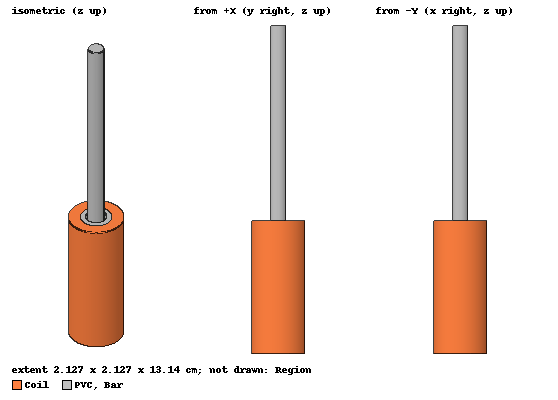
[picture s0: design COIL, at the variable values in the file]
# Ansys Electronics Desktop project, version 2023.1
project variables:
  $r_wire = 0.00025meter
  $r_coil_ext = 0.010635meter
  $r_coil_int = 0.006035meter
  $N = 750
  $copper_lenght = 41.33meter
  $h_coil = 0.05312meter
  $coil_current = 3.5A
  $coil_voltage = 13V
  $r_pvc = 0.00404meter
  $l_bar = 0.096meter
  $r_bar = 0.003045
  $coil_resistance = 3.65ohm
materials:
  vacuum: permittivity=1
  copper: permeability=0.999991 conductivity=58000000
  PVC plastic: permittivity=2.7 dielectric_loss_tangent=0.007
  air: permittivity=1.0006 permeability=1.0000004
  steel_stainless: conductivity=1100000
  Cast iron, EN GJL 100: permeability{HUnit=A_per_meter BUnit=tesla curve (0, 0) (587.829, 0.1) (950.686, 0.2) (1313.54, 0.3) (1785.78, 0.4) (2539.27, 0.5) (3405.34, 0.6) (4758.27, 0.7) (6546.86, 0.8) (9406.73, 0.9) (12834.4, 1) (16836.6, 1.1) (24093.7, 1.2) (31350.9, 1.3) (42519.6, 1.4) (59106.1, 1.5) (79828.6, 1.6) (116114, 1.7) (152400, 1.8)} conductivity=1205510

design COIL (Maxwell 3D, Magnetostatic, model units cm)
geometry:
  Coil [copper] = cylinder(axis=Z, base_centre=(0cm, 0cm, 0cm), radius=$r_coil_ext, height=$h_coil)
  Cylinder2 = cylinder(axis=Z, base_centre=(0cm, 0cm, 0cm), radius=$r_coil_int, height=$h_coil)
  Coil.subtract(Cylinder2)
  PVC [PVC plastic] = cylinder(axis=Z, base_centre=(0cm, 0cm, 0cm), radius=$r_coil_int, height=$h_coil)
  Cylinder4 = cylinder(axis=Z, base_centre=(0cm, 0cm, 0cm), radius=$r_pvc, height=$h_coil)
  PVC.subtract(Cylinder4)
  Region [air] = region(percentage_offset=300 on all sides)
  Cylinder1_Section1 [copper] = Coil.section(plane=YZ)
  Cylinder1_Section1.separate_bodies()
  Bar [Cast iron, EN GJL 100] = cylinder(axis=Z, base_centre=(0m, 0m, $h_coil*2/3), radius=$r_bar, height=$l_bar)
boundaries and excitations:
  Insulating1: Insulating Objects=Region
  CoilTerminal1: Coil Terminal Objects=Cylinder1_Section1 Conductor_number=$N Winding=Winding1 Point_out_of_terminal=true
  Winding1: Winding Group Type=Current IsSolid=false Current=$coil_current ParallelBranchesNum=1
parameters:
  Force1: Force Reference_CS=Global Is_Virtual=true Objects=Bar
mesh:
  Length1: LengthBased Objects=Coil NumMaxElem=100000
  Length2: LengthBased RefineInside Objects=Bar NumMaxElem=100000 MaxLength=1.92cm
  initial mesh: GlobalCurvilinear{Apply}
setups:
  Setup1: Magnetostatic MaximumPasses=10 MinimumPasses=2 MinimumConvergedPasses=1 PercentRefinement=30 PercentError=1 NonLinearResidual=0.001
